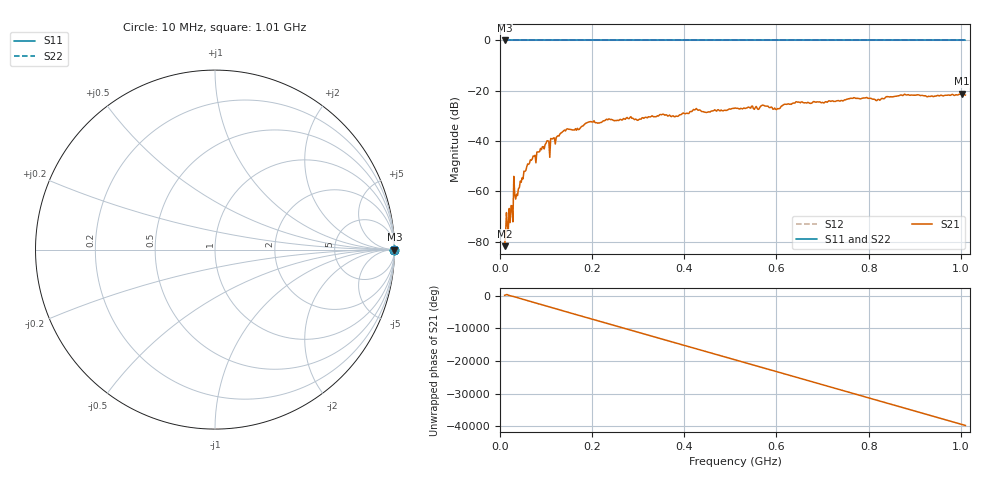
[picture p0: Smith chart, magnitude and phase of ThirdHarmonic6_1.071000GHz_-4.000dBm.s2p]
! 8/16/2025 9:42:44 AM
! C:\ANRITSUVNA\TEMP\TEMP.S2P
! CHANNEL.1
! TR.MEASUREMENT
! RAW.DATA
! RF.CORRECTION.OFF
! AVERAGING.OFF
! IF.BANDWIDTH: 5KHZ
! SWEEPTYPE:  FREQ.SWEEP(Linear)
! Reference Plane Port Info
! PORT:  PORT1  PORT2
! DISTANCE:  0  m  0  m
! TIME:  0  s  0  s
! PHASE.OFFSET:  0  deg.  0  deg.
! LOSS:  0  dB  0  dB
! REF.LOSS:  0  dB  0  dB
! REF.FREQ:  0  Hz  0  Hz
! Power Info
! POWER:  -20  dBm  -20  dBm
! EFF.POWER:  -20  dBm  -20  dBm
! SOURCE.ATTEN:  0  dB  0  dB
! TEST.ATTEN:  0  dB  0  dB
# GHZ S RI R 50.0
! FREQ.GHZ  S11RE  S11IM  S21RE  S21IM  S12RE  S12IM  S22RE  S22IM
!; PortSelection: Port_12
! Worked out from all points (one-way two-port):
!   501 points, 10 MHz to 1.01 GHz, reference 50 ohm
!   highest |S21| = -21.18 dB at 1.002 GHz (marker M1); lowest = -81.8 dB at 10 MHz (marker M2)
!   lowest |S11| = 0.0 dB at 10 MHz (marker M3)
!   |S11| at or under -10 dB: nowhere
!   |S22| runs from 0.0 to 0.0 dB; largest |S21 - S12| = 1.1
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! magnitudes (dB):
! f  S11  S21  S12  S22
! 10 MHz  0.0  -81.8  0.0  0.0
! 16 MHz  0.0  -73.7  0.0  0.0
! 24 MHz  0.0  -65.6  0.0  0.0
! 28 MHz  0.0  -72.1  0.0  0.0
! 34 MHz  0.0  -63.1  0.0  0.0
! 38 MHz  0.0  -61.7  0.0  0.0
! 56 MHz  0.0  -51.7  0.0  0.0
! 70 MHz  0.0  -47.1  0.0  0.0
! 102 MHz  0.0  -39.9  0.0  0.0
! 110 MHz  0.0  -39.0  0.0  0.0
! 136 MHz  0.0  -36.3  0.0  0.0
! 178 MHz  0.0  -34.1  0.0  0.0
! 194 MHz  0.0  -32.4  0.0  0.0
! 344 MHz  0.0  -30.1  0.0  0.0
! 510 MHz  0.0  -26.8  0.0  0.0
! 572 MHz  0.0  -25.8  0.0  0.0
! 602 MHz  0.0  -27.1  0.0  0.0
! 644 MHz  0.0  -24.4  0.0  0.0
! 678 MHz  0.0  -24.7  0.0  0.0
! 844 MHz  0.0  -22.4  0.0  0.0
! 1.002 GHz  0.0  -21.2  0.0  0.0
! 1.01 GHz  0.0  -21.7  0.0  0.0
